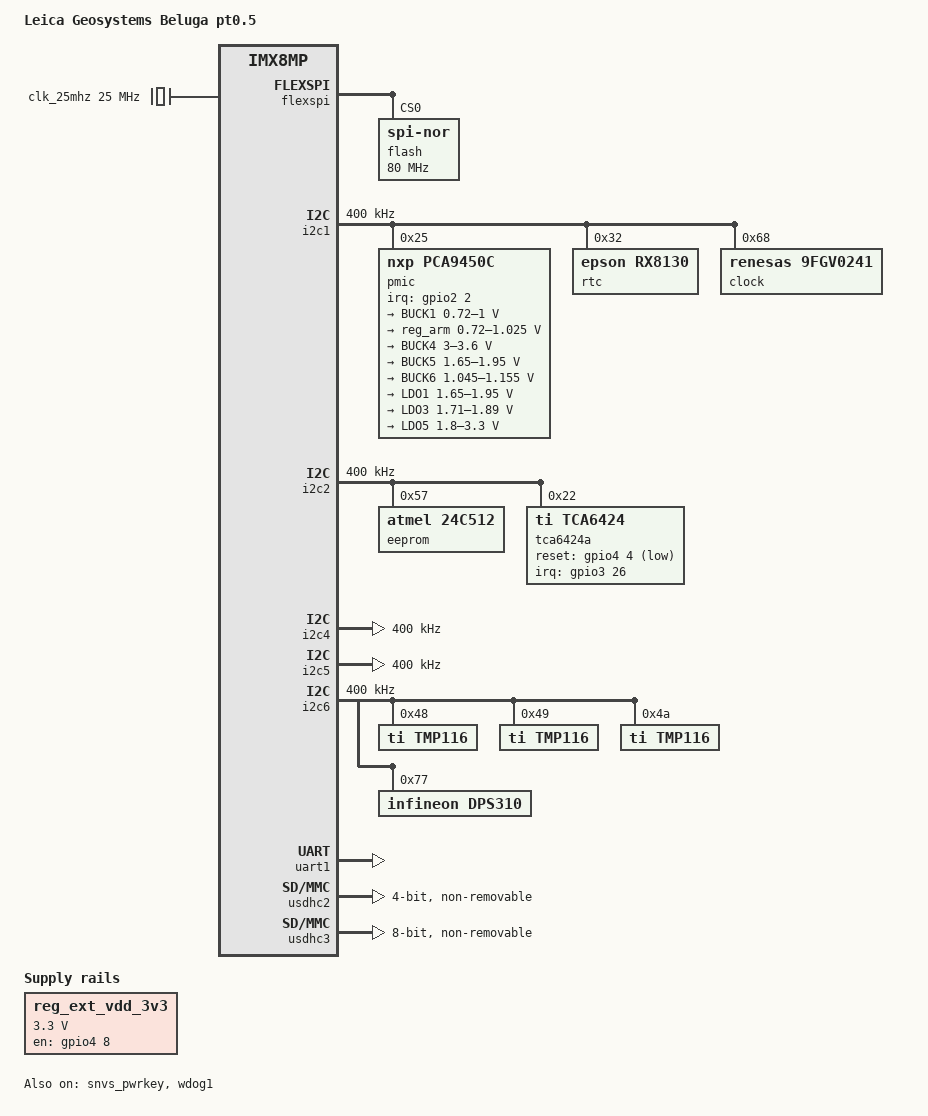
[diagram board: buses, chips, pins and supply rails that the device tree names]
// SPDX-License-Identifier: (GPL-2.0+ OR MIT)
/*
 * Copyright 2019 NXP
 * Copyright (C) 2023 Leica Geosystems AG
 */

/dts-v1/;

#include "imx8mp.dtsi"

/ {
	model = "Leica Geosystems Beluga pt0.5";
	compatible = ",beluga-rev-0.5", "-beluga", "fsl,imx8mp";

	chosen {
		stdout-path = &uart1;
	};

	/* 25MHz crystal for PCIe REFCLK Generator */
	clk_25mhz: clock-25mhz {
		compatible = "fixed-clock";
		#clock-cells = <0>;
		clock-frequency = <25000000>;
	};

	reg_ext_vdd_3v3: regulator-ext-vdd-3v3 {
		compatible = "regulator-fixed";
		pinctrl-names = "default";
		pinctrl-0 = <&pinctrl_reg_ext_vdd_3v3>;
		regulator-name = "VDD_3V3_EXT";
		regulator-min-microvolt = <3300000>;
		regulator-max-microvolt = <3300000>;
		gpio = <&gpio4 8 GPIO_ACTIVE_HIGH>;
		enable-active-high;
	};

	reserved-memory {
		#address-cells = <2>;
		#size-cells = <2>;
		ranges;

		vdev0vring0: vdev0vring0@55000000 {
			reg = <0 0x55000000 0 0x8000>;
			no-map;
		};

		vdev0vring1: vdev0vring1@55008000 {
			reg = <0 0x55008000 0 0x8000>;
			no-map;
		};

		rsc_table: rsc-table@550ff000 {
			reg = <0 0x550ff000 0 0x1000>;
			no-map;
		};

		ram_console_buffer: ram-console-buffer@55100000 {
			reg = <0 0x55100000 0 0x1000>;
			no-map;
		};

		vdev0buffer: vdev0buffer@55400000 {
			compatible = "shared-dma-pool";
			reg = <0 0x55400000 0 0x100000>;
			no-map;
		};
	};

	imx8mp-cm7 {
		compatible = "fsl,imx8mp-cm7";
		clocks = <&clk IMX8MP_CLK_M7_DIV>;
		mbox-names = "tx", "rx", "rxdb";
		mboxes = <&mu 0 1
			  &mu 1 1
			  &mu 3 1>;
		memory-region = <&vdev0buffer>, <&vdev0vring0>, <&vdev0vring1>,
				<&rsc_table>, <&ram_console_buffer>;
		syscon = <&src>;
	};
};

&A53_0 {
	cpu-supply = <&reg_arm>;
};

&A53_1 {
	cpu-supply = <&reg_arm>;
};

&A53_2 {
	cpu-supply = <&reg_arm>;
};

&A53_3 {
	cpu-supply = <&reg_arm>;
};

&flexspi {
	pinctrl-names = "default";
	pinctrl-0 = <&pinctrl_flexspi>;
	status = "okay";

	flash: flash@0 {
		compatible = "jedec,spi-nor";
		reg = <0>;
		#address-cells = <1>;
		#size-cells = <1>;
		spi-max-frequency = <80000000>;
		spi-rx-bus-width = <4>;
		spi-tx-bus-width = <4>;
	};
};

&i2c1 {
	clock-frequency = <400000>;
	pinctrl-names = "default";
	pinctrl-0 = <&pinctrl_i2c1>;
	status = "okay";

	pmic@25 {
		compatible = "nxp,pca9450c";
		reg = <0x25>;
		pinctrl-names = "default";
		pinctrl-0 = <&pinctrl_pmic>;
		interrupt-parent = <&gpio2>;
		interrupts = <2 IRQ_TYPE_LEVEL_LOW>;

		regulators {
			BUCK1 {
				regulator-name = "BUCK1";
				regulator-min-microvolt = <720000>;
				regulator-max-microvolt = <1000000>;
				regulator-boot-on;
				regulator-always-on;
				regulator-ramp-delay = <3125>;
			};

			reg_arm: BUCK2 {
				regulator-name = "BUCK2";
				regulator-min-microvolt = <720000>;
				regulator-max-microvolt = <1025000>;
				regulator-boot-on;
				regulator-always-on;
				regulator-ramp-delay = <3125>;
				nxp,dvs-run-voltage = <950000>;
				nxp,dvs-standby-voltage = <850000>;
			};

			BUCK4 {
				regulator-name = "BUCK4";
				regulator-min-microvolt = <3000000>;
				regulator-max-microvolt = <3600000>;
				regulator-boot-on;
				regulator-always-on;
			};

			BUCK5 {
				regulator-name = "BUCK5";
				regulator-min-microvolt = <1650000>;
				regulator-max-microvolt = <1950000>;
				regulator-boot-on;
				regulator-always-on;
			};

			BUCK6 {
				regulator-name = "BUCK6";
				regulator-min-microvolt = <1045000>;
				regulator-max-microvolt = <1155000>;
				regulator-boot-on;
				regulator-always-on;
			};

			LDO1 {
				regulator-name = "LDO1";
				regulator-min-microvolt = <1650000>;
				regulator-max-microvolt = <1950000>;
				regulator-boot-on;
				regulator-always-on;
			};

			LDO3 {
				regulator-name = "LDO3";
				regulator-min-microvolt = <1710000>;
				regulator-max-microvolt = <1890000>;
				regulator-boot-on;
				regulator-always-on;
			};

			LDO5 {
				regulator-name = "LDO5";
				regulator-min-microvolt = <1800000>;
				regulator-max-microvolt = <3300000>;
				regulator-boot-on;
				regulator-always-on;
			};
		};
	};

	rtc@32 {
		compatible = "epson,rx8130";
		reg = <0x32>;
		aux-voltage-chargeable = <0>;
		wakeup-source;
	};

	clock@68 {
		compatible = "renesas,9fgv0241";
		reg = <0x68>;
		clocks = <&clk_25mhz>;
		#clock-cells = <1>;
	};
};

&i2c2 {
	clock-frequency = <400000>;
	pinctrl-names = "default";
	pinctrl-0 = <&pinctrl_i2c2>;
	status = "okay";

	eeprom: eeprom@57 {
		compatible = "atmel,24c512";
		reg = <0x57>;
		pagesize = <16>;
	};

	tca6424a: gpio@22 {
		compatible = "ti,tca6424";
		reg = <0x22>;
		gpio-controller;
		#gpio-cells = <2>;
		interrupt-parent = <&gpio3>;
		interrupts = <26 IRQ_TYPE_LEVEL_LOW>;
		pinctrl-names = "default";
		pinctrl-0 = <&pinctrl_tca6424>;
		interrupt-controller;
		reset-gpios = <&gpio4 4 GPIO_ACTIVE_LOW>;
	};
};

&i2c4 {
	clock-frequency = <400000>;
	pinctrl-names = "default";
	pinctrl-0 = <&pinctrl_i2c4>;
	status = "okay";
};

&i2c5 {
	clock-frequency = <400000>;
	pinctrl-names = "default";
	pinctrl-0 = <&pinctrl_i2c5>;
	status = "okay";
};

&i2c6 {
	pinctrl-names = "default";
	pinctrl-0 = <&pinctrl_i2c6>;
	clock-frequency = <400000>;
	status = "okay";

	tmp116@48 {
		compatible = "ti,tmp116";
		reg = <0x48>;
	};

	tmp116@49 {
		compatible = "ti,tmp116";
		reg = <0x49>;
	};

	tmp116@4A {
		compatible = "ti,tmp116";
		reg = <0x4a>;
	};

	dps310@77 {
		compatible = "infineon,dps310";
		reg = <0x77>;
		#io-channel-cells = <0>;
	};
};

&snvs_pwrkey {
	status = "okay";
};

/* A53 console */
&uart1 {
	pinctrl-names = "default";
	pinctrl-0 = <&pinctrl_uart1>;
	status = "okay";
};

/* WLAN */
&usdhc2 {
	assigned-clocks = <&clk IMX8MP_CLK_USDHC2>;
	assigned-clock-rates = <400000000>;
	pinctrl-names = "default", "state_100mhz", "state_200mhz";
	pinctrl-0 = <&pinctrl_usdhc2>;
	pinctrl-1 = <&pinctrl_usdhc2_100mhz>;
	pinctrl-2 = <&pinctrl_usdhc2_200mhz>;
	no-sd;
	non-removable;
	bus-width = <4>;
	status = "okay";
};

/* EMMC */
&usdhc3 {
	assigned-clocks = <&clk IMX8MP_CLK_USDHC3>;
	assigned-clock-rates = <400000000>;
	pinctrl-names = "default", "state_100mhz", "state_200mhz";
	pinctrl-0 = <&pinctrl_usdhc3>;
	pinctrl-1 = <&pinctrl_usdhc3_100mhz>;
	pinctrl-2 = <&pinctrl_usdhc3_200mhz>;
	bus-width = <8>;
	non-removable;
	status = "okay";
};

&wdog1 {
	pinctrl-names = "default";
	pinctrl-0 = <&pinctrl_wdog>;
	fsl,ext-reset-output;
	status = "okay";
};

&iomuxc {
	pinctrl_i2c1: i2c1grp {
		fsl,pins = <
			MX8MP_IOMUXC_I2C1_SCL__I2C1_SCL		0x400001c2 /* I2C1_SCL */
			MX8MP_IOMUXC_I2C1_SDA__I2C1_SDA		0x400001c2 /* I2C1_SDA */
		>;
	};

	pinctrl_tca6424: tca6424grp {
		fsl,pins = <
			MX8MP_IOMUXC_HDMI_DDC_SCL__GPIO3_IO26	0x146 /* IMX_IO_EXPDR_xINT */
			MX8MP_IOMUXC_SAI1_RXD2__GPIO4_IO04	0x106 /* IMX_IO_EXPDR_xRST */
		>;
	};

	pinctrl_pmic: pmicgrp {
		fsl,pins = <
			MX8MP_IOMUXC_SD1_DATA0__GPIO2_IO02	0x000001c0 /* PMIC_IRQ_B */
		>;
	};

	pinctrl_wdog: wdoggrp {
		fsl,pins = <
			MX8MP_IOMUXC_GPIO1_IO02__WDOG1_WDOG_B	0x166 /* IMX_WDOG */
		>;
	};

	pinctrl_usdhc2: usdhc2grp {
		fsl,pins = <
			MX8MP_IOMUXC_SD2_CLK__USDHC2_CLK	0x190 /* IMX_SDIO2_CLK */
			MX8MP_IOMUXC_SD2_CMD__USDHC2_CMD	0x1d0 /* IMX_SDIO2_CMD */
			MX8MP_IOMUXC_SD2_DATA0__USDHC2_DATA0	0x1d0 /* IMX_SDIO2_DATA0 */
			MX8MP_IOMUXC_SD2_DATA1__USDHC2_DATA1	0x1d0 /* IMX_SDIO2_DATA1 */
			MX8MP_IOMUXC_SD2_DATA2__USDHC2_DATA2	0x1d0 /* IMX_SDIO2_DATA2 */
			MX8MP_IOMUXC_SD2_DATA3__USDHC2_DATA3	0x1d0 /* IMX_SDIO2_DATA3 */
		>;
	};

	pinctrl_usdhc2_100mhz: usdhc2-100mhzgrp {
		fsl,pins = <
			MX8MP_IOMUXC_SD2_CLK__USDHC2_CLK	0x194 /* IMX_SDIO2_CLK */
			MX8MP_IOMUXC_SD2_CMD__USDHC2_CMD	0x1d4 /* IMX_SDIO2_CMD */
			MX8MP_IOMUXC_SD2_DATA0__USDHC2_DATA0	0x1d4 /* IMX_SDIO2_DATA0 */
			MX8MP_IOMUXC_SD2_DATA1__USDHC2_DATA1	0x1d4 /* IMX_SDIO2_DATA1 */
			MX8MP_IOMUXC_SD2_DATA2__USDHC2_DATA2	0x1d4 /* IMX_SDIO2_DATA2 */
			MX8MP_IOMUXC_SD2_DATA3__USDHC2_DATA3	0x1d4 /* IMX_SDIO2_DATA3 */
		>;
	};

	pinctrl_usdhc2_200mhz: usdhc2-200mhzgrp {
		fsl,pins = <
			MX8MP_IOMUXC_SD2_CLK__USDHC2_CLK	0x196 /* IMX_SDIO2_CLK */
			MX8MP_IOMUXC_SD2_CMD__USDHC2_CMD	0x1d6 /* IMX_SDIO2_CMD */
			MX8MP_IOMUXC_SD2_DATA0__USDHC2_DATA0	0x1d6 /* IMX_SDIO2_DATA0 */
			MX8MP_IOMUXC_SD2_DATA1__USDHC2_DATA1	0x1d6 /* IMX_SDIO2_DATA1 */
			MX8MP_IOMUXC_SD2_DATA2__USDHC2_DATA2	0x1d6 /* IMX_SDIO2_DATA2 */
			MX8MP_IOMUXC_SD2_DATA3__USDHC2_DATA3	0x1d6 /* IMX_SDIO2_DATA3 */
		>;
	};

	pinctrl_usdhc3: usdhc3grp {
		fsl,pins = <
			MX8MP_IOMUXC_NAND_WE_B__USDHC3_CLK	0x190 /* SD3_CLK */
			MX8MP_IOMUXC_NAND_WP_B__USDHC3_CMD	0x1d0 /* SD3_CMD */
			MX8MP_IOMUXC_NAND_DATA04__USDHC3_DATA0	0x1d0 /* SD3_DATA0 */
			MX8MP_IOMUXC_NAND_DATA05__USDHC3_DATA1	0x1d0 /* SD3_DATA1 */
			MX8MP_IOMUXC_NAND_DATA06__USDHC3_DATA2	0x1d0 /* SD3_DATA2 */
			MX8MP_IOMUXC_NAND_DATA07__USDHC3_DATA3	0x1d0 /* SD3_DATA3 */
			MX8MP_IOMUXC_NAND_RE_B__USDHC3_DATA4	0x1d0 /* SD3_DATA4 */
			MX8MP_IOMUXC_NAND_CE2_B__USDHC3_DATA5	0x1d0 /* SD3_DATA5 */
			MX8MP_IOMUXC_NAND_CE3_B__USDHC3_DATA6	0x1d0 /* SD3_DATA6 */
			MX8MP_IOMUXC_NAND_CLE__USDHC3_DATA7	0x1d0 /* SD3_DATA7 */
			MX8MP_IOMUXC_NAND_CE1_B__USDHC3_STROBE	0x190 /* SD3_STROBE */
		>;
	};

	pinctrl_usdhc3_100mhz: usdhc3-100mhzgrp {
		fsl,pins = <
			MX8MP_IOMUXC_NAND_WE_B__USDHC3_CLK	0x194 /* SD3_CLK */
			MX8MP_IOMUXC_NAND_WP_B__USDHC3_CMD	0x1d4 /* SD3_CMD */
			MX8MP_IOMUXC_NAND_DATA04__USDHC3_DATA0	0x1d4 /* SD3_DATA0 */
			MX8MP_IOMUXC_NAND_DATA05__USDHC3_DATA1	0x1d4 /* SD3_DATA1 */
			MX8MP_IOMUXC_NAND_DATA06__USDHC3_DATA2	0x1d4 /* SD3_DATA2 */
			MX8MP_IOMUXC_NAND_DATA07__USDHC3_DATA3	0x1d4 /* SD3_DATA3 */
			MX8MP_IOMUXC_NAND_RE_B__USDHC3_DATA4	0x1d4 /* SD3_DATA4 */
			MX8MP_IOMUXC_NAND_CE2_B__USDHC3_DATA5	0x1d4 /* SD3_DATA5 */
			MX8MP_IOMUXC_NAND_CE3_B__USDHC3_DATA6	0x1d4 /* SD3_DATA6 */
			MX8MP_IOMUXC_NAND_CLE__USDHC3_DATA7	0x1d4 /* SD3_DATA7 */
			MX8MP_IOMUXC_NAND_CE1_B__USDHC3_STROBE	0x194 /* SD3_STROBE */
		>;
	};

	pinctrl_usdhc3_200mhz: usdhc3-200mhzgrp {
		fsl,pins = <
			MX8MP_IOMUXC_NAND_WE_B__USDHC3_CLK	0x196 /* SD3_CLK */
			MX8MP_IOMUXC_NAND_WP_B__USDHC3_CMD	0x1d6 /* SD3_CMD */
			MX8MP_IOMUXC_NAND_DATA04__USDHC3_DATA0	0x1d6 /* SD3_DATA0 */
			MX8MP_IOMUXC_NAND_DATA05__USDHC3_DATA1	0x1d6 /* SD3_DATA1 */
			MX8MP_IOMUXC_NAND_DATA06__USDHC3_DATA2	0x1d6 /* SD3_DATA2 */
			MX8MP_IOMUXC_NAND_DATA07__USDHC3_DATA3	0x1d6 /* SD3_DATA3 */
			MX8MP_IOMUXC_NAND_RE_B__USDHC3_DATA4	0x1d6 /* SD3_DATA4 */
			MX8MP_IOMUXC_NAND_CE2_B__USDHC3_DATA5	0x1d6 /* SD3_DATA5 */
			MX8MP_IOMUXC_NAND_CE3_B__USDHC3_DATA6	0x1d6 /* SD3_DATA6 */
			MX8MP_IOMUXC_NAND_CLE__USDHC3_DATA7	0x1d6 /* SD3_DATA7 */
			MX8MP_IOMUXC_NAND_CE1_B__USDHC3_STROBE	0x196 /* SD3_STROBE */
		>;
	};

	pinctrl_uart1: uart1grp {
		fsl,pins = <
			MX8MP_IOMUXC_SD1_CLK__UART1_DCE_TX	0x140 /* IMX_DBG_UART1_TXD */
			MX8MP_IOMUXC_SD1_CMD__UART1_DCE_RX	0x140 /* IMX_DBG_UART1_RXD */
		>;
	};

	pinctrl_i2c2: i2c2grp {
		fsl,pins = <
			MX8MP_IOMUXC_I2C2_SCL__I2C2_SCL		0x400001c2 /* I2C2_SCL */
			MX8MP_IOMUXC_I2C2_SDA__I2C2_SDA		0x400001c2 /* I2C2_SDA */
		>;
	};

	pinctrl_i2c4: i2c4grp {
		fsl,pins = <
			MX8MP_IOMUXC_I2C4_SCL__I2C4_SCL		0x400001c2 /* I2C4_SCL */
			MX8MP_IOMUXC_I2C4_SDA__I2C4_SDA		0x400001c2 /* I2C4_SDA */
		>;
	};

	pinctrl_i2c5: i2c5grp {
		fsl,pins = <
			MX8MP_IOMUXC_SAI5_MCLK__I2C5_SDA	0x400001c2 /* I2C5_SDA */
			MX8MP_IOMUXC_SAI5_RXD0__I2C5_SCL	0x400001c2 /* I2C5_SCL */
		>;
	};

	pinctrl_i2c6: i2c6grp {
		fsl,pins =<
			MX8MP_IOMUXC_SAI5_RXFS__I2C6_SCL	0x400001c2 /* I2C6_SCL */
			MX8MP_IOMUXC_SAI5_RXC__I2C6_SDA		0x400001c2 /* I2C6_SDA */
			>;
	};

	pinctrl_reg_ext_vdd_3v3: vdd3v3extgrp {
		fsl,pins = <
			MX8MP_IOMUXC_SAI1_RXD6__GPIO4_IO08		0x106 /* IMX_EN_EXT_VDD */
		>;
	};

	pinctrl_flexspi: qspigrp {
		fsl,pins = <
			MX8MP_IOMUXC_NAND_ALE__FLEXSPI_A_SCLK		0x1c2	/* QSPIA_SCLK */
			MX8MP_IOMUXC_NAND_CE0_B__FLEXSPI_A_SS0_B	0x82	/* QSPIA_xSS0 */
			MX8MP_IOMUXC_NAND_DATA00__FLEXSPI_A_DATA00	0x82	/* QSPIA_DATA0 */
			MX8MP_IOMUXC_NAND_DATA01__FLEXSPI_A_DATA01	0x82	/* QSPIA_DATA1 */
			MX8MP_IOMUXC_NAND_DATA02__FLEXSPI_A_DATA02	0x82	/* QSPIA_DATA2 */
			MX8MP_IOMUXC_NAND_DATA03__FLEXSPI_A_DATA03	0x82	/* QSPIA_DATA3 */
			MX8MP_IOMUXC_NAND_DQS__FLEXSPI_A_DQS		0x82	/* QSPIA_DQS */
		>;
	};
};
